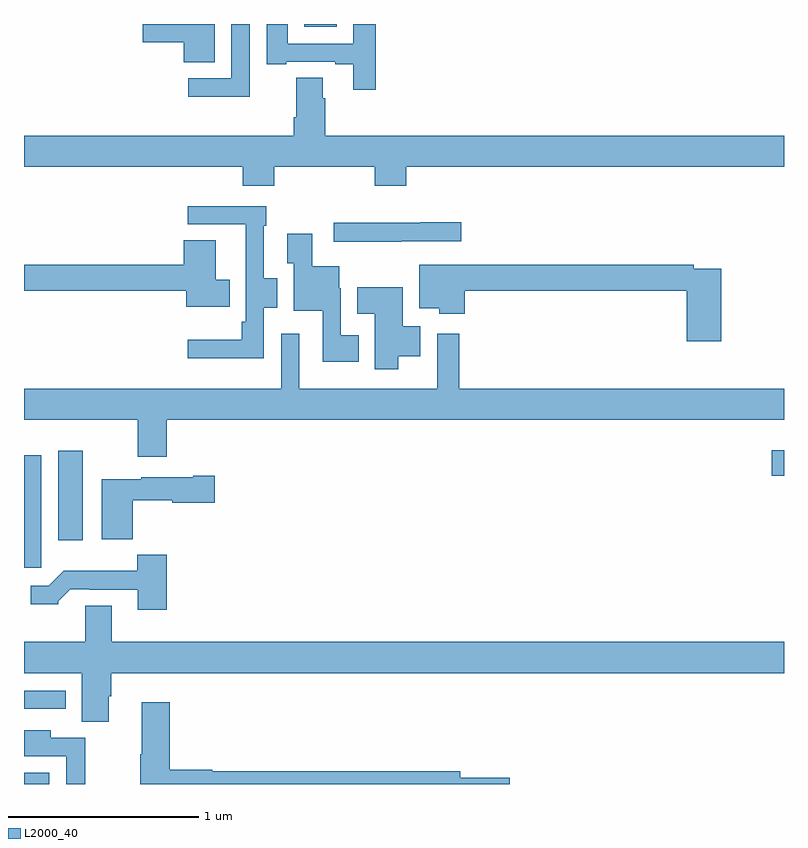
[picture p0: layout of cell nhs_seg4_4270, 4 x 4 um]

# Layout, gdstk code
import gdstk
lib = gdstk.Library(unit=1e-6, precision=1e-09)
def R(c, l, rs):  # rectangles x0, y0, x1, y1
    for r in rs: c.add(gdstk.rectangle(r[:2], r[2:], *l))
def P(c, l, *ps):  # polygons
    for p in ps: c.add(gdstk.Polygon(p, *l))
L2000_40 = (2000, 40)

nhs_seg4_4270 = lib.new_cell('nhs_seg4_4270')
R(nhs_seg4_4270, L2000_40, [(339,798.9,339.133,798.958), (339,799.296,339.22,799.392), (339,800.037,339.091,800.629), (339.179,800.184,339.31,800.653), (342.936,800.522,343,800.656), (340.475,802.886,340.645,802.9)])
P(nhs_seg4_4270, L2000_40, [(340.85,802.9),(340.734,802.9),(340.734,802.797),(340.387,802.797),(340.387,802.9),(340.277,802.9),(340.277,802.689),(340.381,802.689),(340.381,802.701),(340.637,802.701),(340.637,802.689),(340.733,802.689),(340.733,802.554),(340.85,802.554)],
  [(340.003,802.9),(339.624,802.9),(339.624,802.805),(339.842,802.805),(339.842,802.699),(340.003,802.699)],
  [(340.188,802.9),(340.092,802.9),(340.092,802.614),(339.864,802.614),(339.864,802.517),(340.188,802.517)],
  [(340.316,802.148),(340.847,802.148),(340.847,802.049),(341.012,802.049),(341.012,802.148),(343,802.148),(343,802.312),(340.586,802.312),(340.586,802.508),(340.573,802.508),(340.573,802.616),(340.433,802.616),(340.433,802.408),(340.421,802.408),(340.421,802.312),(339,802.312),(339,802.148),(340.151,802.148),(340.151,802.049),(340.316,802.049)],
  [(340.263,801.406),(340.333,801.406),(340.333,801.561),(340.263,801.561),(340.263,801.839),(340.276,801.839),(340.276,801.942),(339.861,801.942),(339.861,801.846),(340.166,801.846),(340.166,801.649),(340.167,801.649),(340.167,801.334),(340.147,801.334),(340.147,801.238),(339.861,801.238),(339.861,801.14),(340.263,801.14)],
  [(340.985,801.756),(341.302,801.756),(341.302,801.857),(341.089,801.857),(341.089,801.854),(340.629,801.854),(340.629,801.754),(340.985,801.754)],
  [(340.762,801.262),(340.668,801.262),(340.668,801.51),(340.66,801.51),(340.66,801.625),(340.518,801.625),(340.518,801.796),(340.385,801.796),(340.385,801.64),(340.421,801.64),(340.421,801.392),(340.572,801.392),(340.572,801.122),(340.762,801.122)],
  [(340.082,801.553),(340.009,801.553),(340.009,801.761),(339.842,801.761),(339.842,801.632),(339,801.632),(339,801.496),(339.854,801.496),(339.854,801.413),(340.082,801.413)],
  [(342.671,801.612),(342.524,801.612),(342.524,801.632),(341.304,801.632),(341.304,801.634),(341.081,801.634),(341.081,801.404),(341.186,801.404),(341.186,801.374),(341.321,801.374),(341.321,801.496),(342.488,801.496),(342.488,801.231),(342.671,801.231)],
  [(340.969,801.152),(341.086,801.152),(341.086,801.31),(340.993,801.31),(340.993,801.514),(340.753,801.514),(340.753,801.374),(340.847,801.374),(340.847,801.084),(340.969,801.084)],
  [(339.752,800.816),(343,800.816),(343,800.98),(341.291,800.98),(341.291,801.271),(341.175,801.271),(341.175,800.98),(340.449,800.98),(340.449,801.271),(340.353,801.271),(340.353,800.98),(339,800.98),(339,800.816),(339.599,800.816),(339.599,800.622),(339.752,800.622)],
  [(339.572,800.393),(339.78,800.393),(339.78,800.381),(340.003,800.381),(340.003,800.523),(339.89,800.523),(339.89,800.515),(339.618,800.515),(339.618,800.503),(339.41,800.503),(339.41,800.189),(339.572,800.189)],
  [(339.752,800.107),(339.597,800.107),(339.597,800.023),(339.208,800.023),(339.129,799.944),(339.036,799.944),(339.036,799.847),(339.18,799.847),(339.18,799.862),(339.244,799.926),(339.343,799.926),(339.343,799.923),(339.599,799.923),(339.599,799.818),(339.752,799.818)],
  [(339.445,799.362),(339.458,799.362),(339.458,799.484),(343,799.484),(343,799.648),(339.463,799.648),(339.463,799.838),(339.323,799.838),(339.323,799.648),(339,799.648),(339,799.484),(339.305,799.484),(339.305,799.228),(339.445,799.228)],
  [(341.557,798.932),(341.296,798.932),(341.296,798.968),(339.99,798.968),(339.99,798.976),(339.767,798.976),(339.767,799.33),(339.62,799.33),(339.62,799.057),(339.613,799.057),(339.613,798.9),(341.557,798.9)],
  [(339.323,799.143),(339.141,799.143),(339.141,799.183),(339,799.183),(339,799.047),(339.222,799.047),(339.222,798.9),(339.323,798.9)])

lib.write_gds('nhs_seg4_4270.gds')
